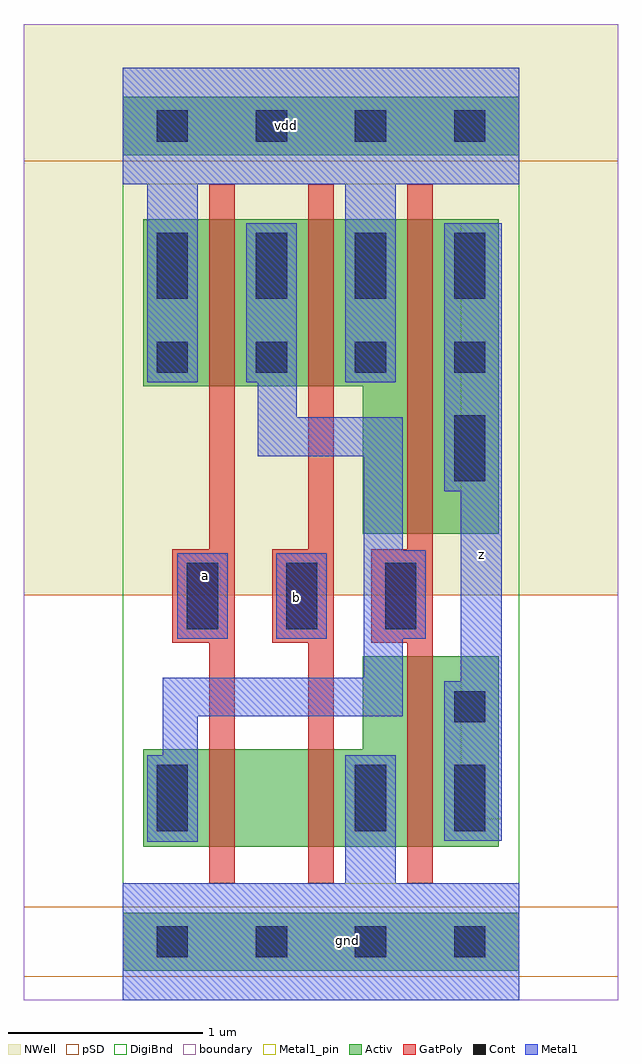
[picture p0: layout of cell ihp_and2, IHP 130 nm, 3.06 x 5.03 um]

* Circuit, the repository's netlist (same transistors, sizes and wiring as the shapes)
* ------------------------------------------------------
*
*		Copyright 2025 IHP PDK Authors
*
*		Licensed under the Apache License, Version 2.0 (the "License");
*		you may not use this file except in compliance with the License.
*		You may obtain a copy of the License at
*
*		   https://www.apache.org/licenses/LICENSE-2.0
*
*		Unless required by applicable law or agreed to in writing, software
*		distributed under the License is distributed on an "AS IS" BASIS,
*		WITHOUT WARRANTIES OR CONDITIONS OF ANY KIND, either express or implied.
*		See the License for the specific language governing permissions and
*		limitations under the License.
*
*		Generated on Thu Jul 30 11:38:32 2026
*
* ------------------------------------------------------
* Flattened from RSC_IHPSG13_AND2X2; unchanged W/L/m.
.subckt ihp_and2 a b z vdd gnd
Xinternal_MN3 z internal_net6 gnd gnd sg13_lv_nmos w=980.00n l=130.00n m=1
Xinternal_MN4 internal_net9 b gnd gnd sg13_lv_nmos w=500.0n l=130.00n m=1
Xinternal_MN6 internal_net6 a internal_net9 gnd sg13_lv_nmos w=500.0n l=130.00n m=1
Xinternal_MP2 z internal_net6 vdd vdd sg13_lv_pmos w=1.62u l=130.00n m=1
Xinternal_MP0 internal_net6 b vdd vdd sg13_lv_pmos w=860.00n l=130.00n m=1
Xinternal_MP1 internal_net6 a vdd vdd sg13_lv_pmos w=860.00n l=130.00n m=1
.ends ihp_and2

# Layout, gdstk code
import gdstk
lib = gdstk.Library(unit=1e-6, precision=1e-09)
def R(c, l, rs):  # rectangles x0, y0, x1, y1
    for r in rs: c.add(gdstk.rectangle(r[:2], r[2:], *l))
def A(c, l, x, y, w, h, nx, ny, dx, dy):  # array of equal rectangles
    R(c, l, [(x+i*dx, y+j*dy, x+i*dx+w, y+j*dy+h) for i in range(nx) for j in range(ny)])
def P(c, l, *ps):  # polygons
    for p in ps: c.add(gdstk.Polygon(p, *l))
Activ = (1, 0)
GatPoly = (5, 0)
Cont = (6, 0)
Metal1 = (8, 0)
Metal1_pin = (8, 2)
pSD = (14, 0)
DigiBnd = (16, 0)
NWell = (31, 0)
boundary = (189, 4)

ihp_and2 = lib.new_cell('ihp_and2')
R(ihp_and2, Activ, [(0.51,0.15,2.55,0.45), (0.51,4.35,2.55,4.65)])
P(ihp_and2, Activ, [(0.615,0.79),(0.615,1.29),(1.745,1.29),(1.745,1.77),(2.445,1.77),(2.445,0.79)],
  [(1.745,2.4),(1.745,3.16),(0.615,3.16),(0.615,4.02),(2.445,4.02),(2.445,2.4)])
P(ihp_and2, GatPoly, [(0.955,0.6),(0.955,1.84),(0.765,1.84),(0.765,2.32),(0.955,2.32),(0.955,4.2),(1.085,4.2),(1.085,0.6)],
  [(1.465,0.6),(1.465,1.84),(1.28,1.84),(1.28,2.32),(1.465,2.32),(1.465,4.2),(1.595,4.2),(1.595,0.6)],
  [(1.975,0.6),(1.975,1.84),(1.79,1.84),(1.79,2.32),(1.975,2.32),(1.975,4.2),(2.105,4.2),(2.105,0.6)])
A(ihp_and2, Cont, 0.685, 0.22, 0.16, 0.16, 4, 2, 0.51, 3.01)
A(ihp_and2, Cont, 0.84, 1.91, 0.16, 0.34, 3, 1, 0.51, 0)
A(ihp_and2, Cont, 0.685, 3.61, 0.16, 0.34, 4, 1, 0.51, 0)
A(ihp_and2, Cont, 0.685, 4.42, 0.16, 0.16, 4, 1, 0.51, 0)
R(ihp_and2, Cont, [(0.685,0.87,0.845,1.21), (1.705,0.87,1.865,1.21), (2.215,0.87,2.375,1.21), (2.215,1.43,2.375,1.59), (2.215,2.67,2.375,3.01)])
R(ihp_and2, Metal1, [(0.51,0,2.55,0.6), (1.655,0.6,1.915,1.26), (0.635,0.815,0.895,1.26), (2.165,0.82,2.46,1.64), (0.715,1.26,0.895,1.46), (0.715,1.46,1.95,1.66), (2.25,1.64,2.46,2.62), (1.75,1.66,1.95,1.86), (0.79,1.86,1.05,2.3), (1.3,1.86,1.56,2.3), (1.75,1.86,2.07,2.315), (1.75,2.315,1.95,2.8), (2.165,2.62,2.46,4), (1.205,2.8,1.95,3), (1.205,3,1.405,3.18), (0.635,3.18,0.895,4.2), (1.145,3.18,1.405,4), (1.655,3.18,1.915,4.2), (0.51,4.2,2.55,4.8)])
R(ihp_and2, Metal1_pin, [(0.51,0,2.55,0.6), (2.25,0.93,2.46,4), (0.79,1.86,1.05,2.3), (1.3,1.86,1.56,2.3), (0.51,4.2,2.55,4.8)])
R(ihp_and2, pSD, [(0,0.12,3.06,0.48), (0,2.085,3.06,4.32)])
R(ihp_and2, DigiBnd, [(0.51,0,2.55,4.8)])
R(ihp_and2, NWell, [(0,2.085,3.06,5.025)])
R(ihp_and2, boundary, [(0,0,3.06,5.025)])
ihp_and2.add(gdstk.Label('a', (0.935,2.185), layer=8, texttype=25))
ihp_and2.add(gdstk.Label('b', (1.405,2.07), layer=8, texttype=25))
ihp_and2.add(gdstk.Label('vdd', (1.35,4.5), layer=8, texttype=25))
ihp_and2.add(gdstk.Label('gnd', (1.665,0.305), layer=8, texttype=25))
ihp_and2.add(gdstk.Label('z', (2.355,2.295), layer=8, texttype=25))

lib.write_gds('ihp_and2.gds')
